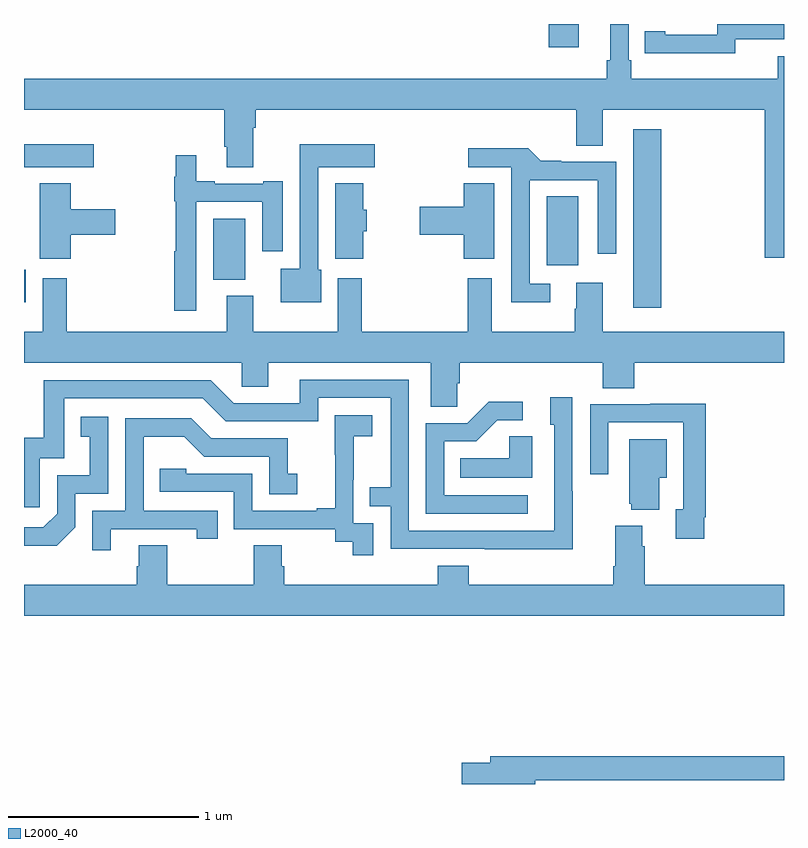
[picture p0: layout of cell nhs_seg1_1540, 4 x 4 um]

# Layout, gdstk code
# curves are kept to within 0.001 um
import gdstk
lib = gdstk.Library(unit=1e-6, precision=1e-09)
def R(c, l, rs):  # rectangles x0, y0, x1, y1
    for r in rs: c.add(gdstk.rectangle(r[:2], r[2:], *l))
def P(c, l, *ps):  # polygons
    for p in ps: c.add(gdstk.Polygon(p, *l))
L2000_40 = (2000, 40)

nhs_seg1_1540 = lib.new_cell('nhs_seg1_1540')
R(nhs_seg1_1540, L2000_40, [(198.206,534.705,198.353,535.645), (195,534.734,195.01,534.906), (195.995,534.854,196.165,535.174), (197.75,534.93,197.917,535.292), (197.762,536.076,197.92,536.199)])
P(nhs_seg1_1540, L2000_40, [(198.899,534.969),(199,534.969),(199,536.029),(198.968,536.029),(198.968,535.912),(198.197,535.912),(198.197,536.008),(198.183,536.008),(198.183,536.199),(198.086,536.199),(198.086,536.008),(198.067,536.008),(198.067,535.912),(195,535.912),(195,535.748),(196.055,535.748),(196.055,535.552),(196.067,535.552),(196.067,535.444),(196.207,535.444),(196.207,535.652),(196.22,535.652),(196.22,535.748),(197.906,535.748),(197.906,535.558),(198.046,535.558),(198.046,535.748),(198.899,535.748)],
  [(198.744,536.118),(199,536.118),(199,536.199),(198.648,536.199),(198.648,536.142),(198.376,536.142),(198.376,536.162),(198.268,536.162),(198.268,536.046),(198.376,536.046),(198.376,536.045),(198.744,536.045)],
  [(196.564,534.906),(196.548,534.906),(196.548,535.445),(196.846,535.445),(196.846,535.567),(196.452,535.567),(196.452,534.91),(196.352,534.91),(196.352,534.734),(196.564,534.734)],
  [(195.367,535.567),(195,535.567),(195,535.446),(195.091,535.446),(195.091,535.445),(195.367,535.445)],
  [(197.77,534.831),(197.661,534.831),(197.661,535.377),(198.021,535.377),(198.021,534.99),(198.117,534.99),(198.117,535.473),(197.827,535.473),(197.827,535.478),(197.719,535.478),(197.654,535.544),(197.337,535.544),(197.337,535.446),(197.565,535.446),(197.565,534.734),(197.77,534.734)],
  [(195.906,535.263),(196.253,535.263),(196.253,535.002),(196.363,535.002),(196.363,535.372),(196.259,535.372),(196.259,535.359),(196.003,535.359),(196.003,535.372),(195.907,535.372),(195.907,535.507),(195.798,535.507),(195.798,535.394),(195.79,535.394),(195.79,535.266),(195.798,535.266),(195.798,535.002),(195.79,535.002),(195.79,534.69),(195.906,534.69)],
  [(197.476,535.361),(197.315,535.361),(197.315,535.238),(197.082,535.238),(197.082,535.091),(197.315,535.091),(197.315,534.963),(197.476,534.963)],
  [(196.786,535.107),(196.804,535.107),(196.804,535.221),(196.786,535.221),(196.786,535.36),(196.637,535.36),(196.637,534.963),(196.786,534.963)],
  [(195.245,535.091),(195.481,535.091),(195.481,535.225),(195.245,535.225),(195.245,535.36),(195.083,535.36),(195.083,534.963),(195.245,534.963)],
  [(197.28,534.307),(197.294,534.307),(197.294,534.416),(198.047,534.416),(198.047,534.283),(198.212,534.283),(198.212,534.416),(199,534.416),(199,534.58),(198.046,534.58),(198.046,534.838),(197.906,534.838),(197.906,534.701),(197.899,534.701),(197.899,534.58),(197.461,534.58),(197.461,534.862),(197.336,534.862),(197.336,534.58),(196.778,534.58),(196.778,534.862),(196.652,534.862),(196.652,534.58),(196.207,534.58),(196.207,534.769),(196.067,534.769),(196.067,534.58),(195.224,534.58),(195.224,534.862),(195.098,534.862),(195.098,534.58),(195,534.58),(195,534.416),(196.146,534.416),(196.146,534.289),(196.285,534.289),(196.285,534.416),(197.141,534.416),(197.141,534.184),(197.28,534.184)],
  [(197.889,533.741),(197.886,533.741),(197.886,534.235),(197.771,534.235),(197.771,534.09),(197.79,534.09),(197.79,533.532),(197.025,533.532),(197.025,534.327),(196.451,534.327),(196.451,534.204),(196.104,534.204),(195.984,534.324),(195.105,534.324),(195.105,534.022),(195,534.022),(195,533.655),(195.084,533.655),(195.084,533.913),(195.213,533.913),(195.213,534.228),(195.942,534.228),(196.062,534.108),(196.548,534.108),(196.548,534.231),(196.929,534.231),(196.929,533.762),(196.819,533.762),(196.819,533.661),(196.929,533.661),(196.929,533.436),(197.889,533.435)],
  [(197.65,533.718),(197.211,533.718),(197.211,534.003),(197.38,534.003),(197.491,534.114),(197.626,534.114),(197.626,534.212),(197.447,534.212),(197.334,534.099),(197.115,534.099),(197.115,533.622),(197.65,533.622)],
  [(198.58,533.602),(198.587,533.602),(198.587,534.2),(198.295,534.2),(198.295,534.198),(197.979,534.198),(197.979,533.829),(198.075,533.829),(198.075,534.102),(198.471,534.102),(198.471,533.646),(198.431,533.646),(198.431,533.49),(198.58,533.49)],
  [(196.839,533.571),(196.734,533.571),(196.734,533.801),(196.736,533.801),(196.736,534.029),(196.834,534.029),(196.834,534.139),(196.636,534.139),(196.636,533.933),(196.637,533.933),(196.637,533.65),(196.541,533.65),(196.541,533.637),(196.2,533.637),(196.2,533.832),(195.855,533.832),(195.855,533.859),(195.715,533.859),(195.715,533.736),(196.104,533.736),(196.104,533.541),(196.638,533.541),(196.638,533.473),(196.731,533.473),(196.731,533.403),(196.839,533.403)],
  [(195.27,533.55),(195.27,533.727),(195.444,533.727),(195.444,534.133),(195.298,534.133),(195.298,534.027),(195.347,534.027),(195.347,533.823),(195.174,533.823),(195.174,533.622),(195.102,533.55),(195,533.55),(195,533.453),(195.172,533.453)],
  [(195.457,533.541),(195.908,533.541),(195.908,533.49),(196.019,533.49),(196.019,533.637),(195.63,533.637),(195.63,534.026),(195.844,534.026),(195.948,533.922),(196.29,533.922),(196.29,533.724),(196.438,533.724),(196.438,533.833),(196.389,533.833),(196.389,534.018),(195.985,534.018),(195.88,534.123),(195.534,534.123),(195.534,533.637),(195.36,533.637),(195.36,533.43),(195.457,533.43)],
  [(197.674,534.029),(197.553,534.029),(197.553,533.914),(197.296,533.914),(197.296,533.81),(197.674,533.81)],
  [(198.343,533.81),(198.382,533.81),(198.382,534.013),(198.185,534.013),(198.185,533.673),(198.197,533.673),(198.197,533.642),(198.343,533.642)],
  [(199,533.248),(198.266,533.248),(198.266,533.45),(198.253,533.45),(198.253,533.557),(198.113,533.557),(198.113,533.344),(198.101,533.344),(198.101,533.248),(197.342,533.248),(197.342,533.347),(197.177,533.347),(197.177,533.248),(196.37,533.248),(196.37,533.346),(196.357,533.346),(196.357,533.456),(196.21,533.456),(196.21,533.248),(195.753,533.248),(195.753,533.456),(195.605,533.456),(195.605,533.346),(195.593,533.346),(195.593,533.248),(195,533.248),(195,533.084),(199,533.084)],
  [(197.692,532.218),(199,532.218),(199,532.346),(197.453,532.346),(197.453,532.31),(197.304,532.31),(197.304,532.199),(197.692,532.199)])

lib.write_gds('nhs_seg1_1540.gds')
